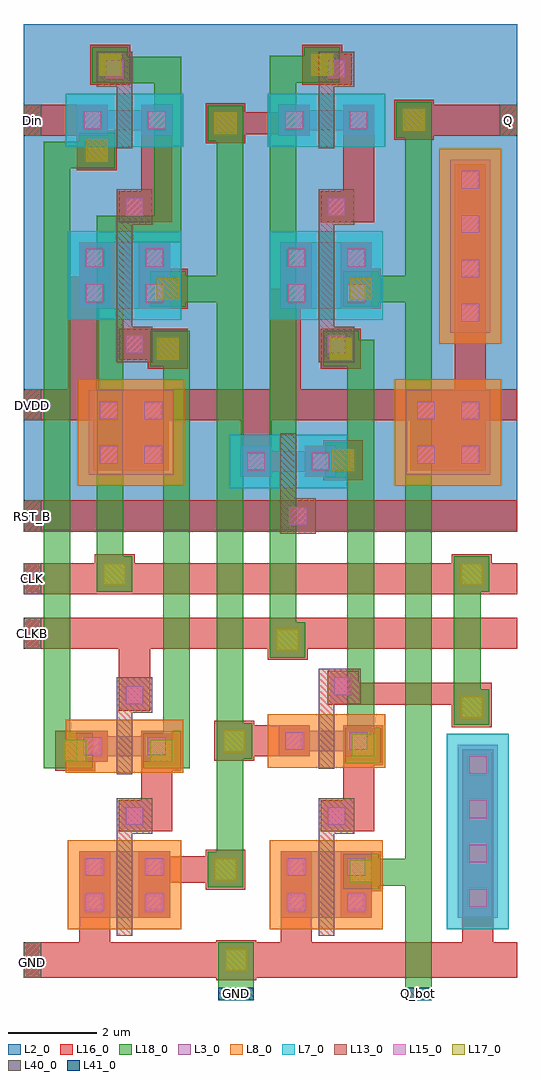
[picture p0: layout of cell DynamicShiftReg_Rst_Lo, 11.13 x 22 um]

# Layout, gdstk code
import gdstk
lib = gdstk.Library(unit=1e-6, precision=1e-09)
def R(c, l, rs):  # rectangles x0, y0, x1, y1
    for r in rs: c.add(gdstk.rectangle(r[:2], r[2:], *l))
def A(c, l, x, y, w, h, nx, ny, dx, dy):  # array of equal rectangles
    R(c, l, [(x+i*dx, y+j*dy, x+i*dx+w, y+j*dy+h) for i in range(nx) for j in range(ny)])
L2_0 = (2, 0)
L3_0 = (3, 0)
L7_0 = (7, 0)
L8_0 = (8, 0)
L13_0 = (13, 0)
L15_0 = (15, 0)
L16_0 = (16, 0)
L17_0 = (17, 0)
L18_0 = (18, 0)
L40_0 = (40, 0)
L41_0 = (41, 0)

pch_cdns_760839022940 = lib.new_cell('pch_CDNS_760839022940')
R(pch_cdns_760839022940, L2_0, [(-2.05,-1.2,2.4,2.7)])
R(pch_cdns_760839022940, L3_0, [(-0.85,0,-0.15,1.5), (-0.85,0,-0.15,1.5), (-0.15,0,0.5,1.5), (0.5,0,1.2,1.5), (0.5,0,1.2,1.5)])
R(pch_cdns_760839022940, L7_0, [(-1.1,-0.25,1.45,1.75)])
R(pch_cdns_760839022940, L13_0, [(0,-0.4,0.35,1.9)])
R(pch_cdns_760839022940, L15_0, [(-0.7,0.15,-0.3,0.55), (0.65,0.15,1.05,0.55), (-0.7,0.95,-0.3,1.35), (0.65,0.95,1.05,1.35)])
R(pch_cdns_760839022940, L16_0, [(-0.85,0,-0.15,1.5), (0.5,0,1.2,1.5)])
pch_cdns_760839022940.add(gdstk.Label('D', (0.85,0.75), layer=59, texttype=0))
pch_cdns_760839022940.add(gdstk.Label('S', (-0.5,0.75), layer=59, texttype=0))
pch_cdns_760839022940.add(gdstk.Label('G', (0.175,0.75), layer=59, texttype=0))
pch_cdns_760839022940.add(gdstk.Label('& SerialNumber 000000', (0,0), layer=16, texttype=0))
pch_cdns_760839022940.add(gdstk.Label('& Distributor VIS', (0,0), layer=16, texttype=0))
pch_cdns_760839022940.add(gdstk.Label('& Metric 1', (0,0), layer=16, texttype=0))
pch_cdns_760839022940.add(gdstk.Label('& Version    \t  1.7A', (0,0), layer=16, texttype=0))
pch_cdns_760839022940.add(gdstk.Label('& PDKName     vis35cv', (0,0), layer=16, texttype=0))
pch_cdns_760839022940.add(gdstk.Label('& Vendor VIS Corp.', (0,0), layer=16, texttype=0))
pch_cdns_760839022940.add(gdstk.Label('& SerialNumber 000000', (0,0), layer=63, texttype=63))
pch_cdns_760839022940.add(gdstk.Label('& Distributor VIS', (0,0), layer=63, texttype=63))
pch_cdns_760839022940.add(gdstk.Label('& Metric 1', (0,0), layer=63, texttype=63))
pch_cdns_760839022940.add(gdstk.Label('& Version    \t  1.7A', (0,0), layer=63, texttype=63))
pch_cdns_760839022940.add(gdstk.Label('& PDKName     vis35cv', (0,0), layer=63, texttype=63))
pch_cdns_760839022940.add(gdstk.Label('& Vendor VIS Corp.', (0,0), layer=63, texttype=63))

pch_cdns_760839022941 = lib.new_cell('pch_CDNS_760839022941')
R(pch_cdns_760839022941, L2_0, [(-2.1,-1.32,2.45,1.78)])
R(pch_cdns_760839022941, L3_0, [(-0.9,-0.12,-0.2,0.58), (0.55,-0.12,1.25,0.58), (-0.9,0,-0.2,0.46), (-0.2,0,0.55,0.46), (0.55,0,1.25,0.46)])
R(pch_cdns_760839022941, L7_0, [(-1.15,-0.37,1.5,0.83)])
R(pch_cdns_760839022941, L13_0, [(0,-0.4,0.35,0.86)])
R(pch_cdns_760839022941, L15_0, [(-0.75,0.03,-0.35,0.43), (0.7,0.03,1.1,0.43)])
R(pch_cdns_760839022941, L16_0, [(-0.9,-0.12,-0.2,0.58), (0.55,-0.12,1.25,0.58)])
pch_cdns_760839022941.add(gdstk.Label('D', (0.9,0.23), layer=59, texttype=0))
pch_cdns_760839022941.add(gdstk.Label('S', (-0.55,0.23), layer=59, texttype=0))
pch_cdns_760839022941.add(gdstk.Label('G', (0.175,0.23), layer=59, texttype=0))
pch_cdns_760839022941.add(gdstk.Label('& SerialNumber 000000', (0,0), layer=16, texttype=0))
pch_cdns_760839022941.add(gdstk.Label('& Distributor VIS', (0,0), layer=16, texttype=0))
pch_cdns_760839022941.add(gdstk.Label('& Metric 1', (0,0), layer=16, texttype=0))
pch_cdns_760839022941.add(gdstk.Label('& Version    \t  1.7A', (0,0), layer=16, texttype=0))
pch_cdns_760839022941.add(gdstk.Label('& PDKName     vis35cv', (0,0), layer=16, texttype=0))
pch_cdns_760839022941.add(gdstk.Label('& Vendor VIS Corp.', (0,0), layer=16, texttype=0))
pch_cdns_760839022941.add(gdstk.Label('& SerialNumber 000000', (0,0), layer=63, texttype=63))
pch_cdns_760839022941.add(gdstk.Label('& Distributor VIS', (0,0), layer=63, texttype=63))
pch_cdns_760839022941.add(gdstk.Label('& Metric 1', (0,0), layer=63, texttype=63))
pch_cdns_760839022941.add(gdstk.Label('& Version    \t  1.7A', (0,0), layer=63, texttype=63))
pch_cdns_760839022941.add(gdstk.Label('& PDKName     vis35cv', (0,0), layer=63, texttype=63))
pch_cdns_760839022941.add(gdstk.Label('& Vendor VIS Corp.', (0,0), layer=63, texttype=63))

nch_cdns_760839022942 = lib.new_cell('nch_CDNS_760839022942')
R(nch_cdns_760839022942, L3_0, [(-0.9,-0.12,-0.2,0.58), (0.55,-0.12,1.25,0.58), (-0.9,0,-0.2,0.46), (-0.2,0,0.55,0.46), (0.55,0,1.25,0.46)])
R(nch_cdns_760839022942, L8_0, [(-1.15,-0.37,1.5,0.83)])
R(nch_cdns_760839022942, L13_0, [(0,-0.4,0.35,0.86)])
R(nch_cdns_760839022942, L15_0, [(-0.75,0.03,-0.35,0.43), (0.7,0.03,1.1,0.43)])
R(nch_cdns_760839022942, L16_0, [(-0.9,-0.12,-0.2,0.58), (0.55,-0.12,1.25,0.58)])
nch_cdns_760839022942.add(gdstk.Label('D', (0.9,0.23), layer=59, texttype=0))
nch_cdns_760839022942.add(gdstk.Label('S', (-0.55,0.23), layer=59, texttype=0))
nch_cdns_760839022942.add(gdstk.Label('G', (0.175,0.23), layer=59, texttype=0))
nch_cdns_760839022942.add(gdstk.Label('& SerialNumber 000000', (0,0), layer=16, texttype=0))
nch_cdns_760839022942.add(gdstk.Label('& Distributor VIS', (0,0), layer=16, texttype=0))
nch_cdns_760839022942.add(gdstk.Label('& Metric 1', (0,0), layer=16, texttype=0))
nch_cdns_760839022942.add(gdstk.Label('& Version    \t  1.7A', (0,0), layer=16, texttype=0))
nch_cdns_760839022942.add(gdstk.Label('& PDKName     vis35cv', (0,0), layer=16, texttype=0))
nch_cdns_760839022942.add(gdstk.Label('& Vendor VIS Corp.', (0,0), layer=16, texttype=0))
nch_cdns_760839022942.add(gdstk.Label('& SerialNumber 000000', (0,0), layer=63, texttype=63))
nch_cdns_760839022942.add(gdstk.Label('& Distributor VIS', (0,0), layer=63, texttype=63))
nch_cdns_760839022942.add(gdstk.Label('& Metric 1', (0,0), layer=63, texttype=63))
nch_cdns_760839022942.add(gdstk.Label('& Version    \t  1.7A', (0,0), layer=63, texttype=63))
nch_cdns_760839022942.add(gdstk.Label('& PDKName     vis35cv', (0,0), layer=63, texttype=63))
nch_cdns_760839022942.add(gdstk.Label('& Vendor VIS Corp.', (0,0), layer=63, texttype=63))

nch_cdns_760839022943 = lib.new_cell('nch_CDNS_760839022943')
R(nch_cdns_760839022943, L3_0, [(-0.85,0,-0.15,1.5), (-0.85,0,-0.15,1.5), (-0.15,0,0.5,1.5), (0.5,0,1.2,1.5), (0.5,0,1.2,1.5)])
R(nch_cdns_760839022943, L8_0, [(-1.1,-0.25,1.45,1.75)])
R(nch_cdns_760839022943, L13_0, [(0,-0.4,0.35,1.9)])
R(nch_cdns_760839022943, L15_0, [(-0.7,0.15,-0.3,0.55), (0.65,0.15,1.05,0.55), (-0.7,0.95,-0.3,1.35), (0.65,0.95,1.05,1.35)])
R(nch_cdns_760839022943, L16_0, [(-0.85,0,-0.15,1.5), (0.5,0,1.2,1.5)])
nch_cdns_760839022943.add(gdstk.Label('D', (0.85,0.75), layer=59, texttype=0))
nch_cdns_760839022943.add(gdstk.Label('S', (-0.5,0.75), layer=59, texttype=0))
nch_cdns_760839022943.add(gdstk.Label('G', (0.175,0.75), layer=59, texttype=0))
nch_cdns_760839022943.add(gdstk.Label('& SerialNumber 000000', (0,0), layer=16, texttype=0))
nch_cdns_760839022943.add(gdstk.Label('& Distributor VIS', (0,0), layer=16, texttype=0))
nch_cdns_760839022943.add(gdstk.Label('& Metric 1', (0,0), layer=16, texttype=0))
nch_cdns_760839022943.add(gdstk.Label('& Version    \t  1.7A', (0,0), layer=16, texttype=0))
nch_cdns_760839022943.add(gdstk.Label('& PDKName     vis35cv', (0,0), layer=16, texttype=0))
nch_cdns_760839022943.add(gdstk.Label('& Vendor VIS Corp.', (0,0), layer=16, texttype=0))
nch_cdns_760839022943.add(gdstk.Label('& SerialNumber 000000', (0,0), layer=63, texttype=63))
nch_cdns_760839022943.add(gdstk.Label('& Distributor VIS', (0,0), layer=63, texttype=63))
nch_cdns_760839022943.add(gdstk.Label('& Metric 1', (0,0), layer=63, texttype=63))
nch_cdns_760839022943.add(gdstk.Label('& Version    \t  1.7A', (0,0), layer=63, texttype=63))
nch_cdns_760839022943.add(gdstk.Label('& PDKName     vis35cv', (0,0), layer=63, texttype=63))
nch_cdns_760839022943.add(gdstk.Label('& Vendor VIS Corp.', (0,0), layer=63, texttype=63))

m1_nactive_cdns_76083902 = lib.new_cell('M1_NACTIVE_CDNS_760839022940')
R(m1_nactive_cdns_76083902, L3_0, [(-0.45,-1.95,0.45,1.95)])
R(m1_nactive_cdns_76083902, L8_0, [(-0.7,-2.2,0.7,2.2)])
A(m1_nactive_cdns_76083902, L15_0, -0.2, -1.7, 0.4, 0.4, 1, 4, 0, 1)
R(m1_nactive_cdns_76083902, L16_0, [(-0.35,-1.85,0.35,1.85)])

m2_m1_cdns_760839022941 = lib.new_cell('M2_M1_CDNS_760839022941')
R(m2_m1_cdns_760839022941, L16_0, [(-0.45,-0.45,0.45,0.45)])
R(m2_m1_cdns_760839022941, L17_0, [(-0.25,-0.25,0.25,0.25)])
R(m2_m1_cdns_760839022941, L18_0, [(-0.4,-0.4,0.4,0.4)])

m1_poly1_cdns_7608390229 = lib.new_cell('M1_POLY1_CDNS_760839022942')
R(m1_poly1_cdns_7608390229, L13_0, [(-0.4,-0.4,0.4,0.4)])
R(m1_poly1_cdns_7608390229, L15_0, [(-0.2,-0.2,0.2,0.2)])
R(m1_poly1_cdns_7608390229, L16_0, [(-0.35,-0.35,0.35,0.35)])

m1_pactive_cdns_76083902 = lib.new_cell('M1_PACTIVE_CDNS_760839022943')
R(m1_pactive_cdns_76083902, L3_0, [(-0.45,-1.95,0.45,1.95)])
R(m1_pactive_cdns_76083902, L7_0, [(-0.7,-2.2,0.7,2.2)])
A(m1_pactive_cdns_76083902, L15_0, -0.2, -1.7, 0.4, 0.4, 1, 4, 0, 1)
R(m1_pactive_cdns_76083902, L16_0, [(-0.35,-1.85,0.35,1.85)])

c_m1_nactive_cdns_76083902 = lib.new_cell('M1_NACTIVE_CDNS_760839022944')
R(c_m1_nactive_cdns_76083902, L3_0, [(-0.95,-0.95,0.95,0.95)])
R(c_m1_nactive_cdns_76083902, L8_0, [(-1.2,-1.2,1.2,1.2)])
R(c_m1_nactive_cdns_76083902, L15_0, [(-0.7,-0.7,-0.3,-0.3), (0.3,-0.7,0.7,-0.3), (-0.7,0.3,-0.3,0.7), (0.3,0.3,0.7,0.7)])
R(c_m1_nactive_cdns_76083902, L16_0, [(-0.85,-0.85,0.85,0.85)])

dynamicshiftreg_rst_lo = lib.new_cell('DynamicShiftReg_Rst_Lo')
R(dynamicshiftreg_rst_lo, L2_0, [(0,10.59,3.69,14.09), (8.24,10.59,11.13,14.09), (3.69,13.69,8.24,14.09), (0,14.09,11.13,22)])
R(dynamicshiftreg_rst_lo, L13_0, [(6.65,6.47,7,7.47), (5.79,11.31,6.14,11.51)])
R(dynamicshiftreg_rst_lo, L16_0, [(2.15,7.22,2.85,7.92), (4.89,12.49,5.59,13.07)])
R(dynamicshiftreg_rst_lo, L40_0, [(0,0.5,0.4,1.3), (0,7.92,0.4,8.62), (0,9.15,0.4,9.85), (0,10.56,0.4,11.26), (0,13.07,0.4,13.77), (0,19.48,0.4,20.18), (10.73,19.48,11.13,20.18)])
R(dynamicshiftreg_rst_lo, L41_0, [(4.39,0,5.19,0.28), (8.6,0,9.2,0.28)])
dynamicshiftreg_rst_lo.add(gdstk.FlexPath([(4.79,0),(4.79,0.5)], 0.8, ends="flush", simple_path=True, layer=18, datatype=0))  # L18_0
dynamicshiftreg_rst_lo.add(gdstk.FlexPath([(1.65,19.05),(0.75,19.05)], 0.6, ends="extended", simple_path=True, layer=18, datatype=0))  # L18_0
dynamicshiftreg_rst_lo.add(gdstk.FlexPath([(1.65,19.03),(1.65,19.05)], 0.6, ends=(0, 0.3), simple_path=True, layer=18, datatype=0))  # L18_0
dynamicshiftreg_rst_lo.add(gdstk.FlexPath([(1.95,20.96),(3.25,20.96)], 0.6, ends=(0, 0.3), simple_path=True, layer=18, datatype=0))  # L18_0
dynamicshiftreg_rst_lo.add(gdstk.FlexPath([(6.73,20.98),(6.73,20.96)], 0.6, ends=(0.3, 0), simple_path=True, layer=18, datatype=0))  # L18_0
dynamicshiftreg_rst_lo.add(gdstk.FlexPath([(5.85,20.98),(6.73,20.98)], 0.6, ends="extended", simple_path=True, layer=18, datatype=0))  # L18_0
dynamicshiftreg_rst_lo.add(gdstk.FlexPath([(5.85,8.41),(5.85,20.98)], 0.6, ends=(0, 0.3), simple_path=True, layer=18, datatype=0))  # L18_0
dynamicshiftreg_rst_lo.add(gdstk.FlexPath([(1.95,17.38),(1.95,9.49)], 0.6, ends=(0.3, 0), simple_path=True, layer=18, datatype=0))  # L18_0
dynamicshiftreg_rst_lo.add(gdstk.FlexPath([(10,6.97),(10,9.49)], 0.6, ends="flush", simple_path=True, layer=18, datatype=0))  # L18_0
dynamicshiftreg_rst_lo.add(gdstk.FlexPath([(7.6,2.94),(7.6,2.88)], 0.6, ends=(0, 0.3), simple_path=True, layer=18, datatype=0))  # L18_0
dynamicshiftreg_rst_lo.add(gdstk.FlexPath([(7.6,2.88),(8.9,2.88)], 0.6, ends="extended", simple_path=True, layer=18, datatype=0))  # L18_0
dynamicshiftreg_rst_lo.add(gdstk.FlexPath([(7.15,14.58),(7.6,14.58)], 0.6, ends=(0.4, 0.3), simple_path=True, layer=18, datatype=0))  # L18_0
dynamicshiftreg_rst_lo.add(gdstk.FlexPath([(7.6,14.58),(7.6,5.35)], 0.6, ends=(0.3, 0), simple_path=True, layer=18, datatype=0))  # L18_0
dynamicshiftreg_rst_lo.add(gdstk.FlexPath([(3.45,14.68),(3.45,5.22)], 0.6, ends=(0.4, 0), simple_path=True, layer=18, datatype=0))  # L18_0
dynamicshiftreg_rst_lo.add(gdstk.FlexPath([(4.65,19.76),(4.65,2.94)], 0.6, ends="flush", simple_path=True, layer=18, datatype=0))  # L18_0
dynamicshiftreg_rst_lo.add(gdstk.FlexPath([(8.9,2.88),(8.9,19.84)], 0.6, ends=(0.3, 0), simple_path=True, layer=18, datatype=0))  # L18_0
dynamicshiftreg_rst_lo.add(gdstk.FlexPath([(7.6,16.03),(8.7,16.03)], 0.6, ends=(0, 0.3), simple_path=True, layer=18, datatype=0))  # L18_0
dynamicshiftreg_rst_lo.add(gdstk.FlexPath([(3.25,17.38),(1.95,17.38)], 0.6, ends="extended", simple_path=True, layer=18, datatype=0))  # L18_0
dynamicshiftreg_rst_lo.add(gdstk.FlexPath([(3.05,16.03),(4.55,16.03)], 0.6, ends=(0, 0.3), simple_path=True, layer=18, datatype=0))  # L18_0
dynamicshiftreg_rst_lo.add(gdstk.FlexPath([(8.9,2.88),(8.9,0)], 0.6, ends=(0.3, 0), simple_path=True, layer=18, datatype=0))  # L18_0
dynamicshiftreg_rst_lo.add(gdstk.FlexPath([(3.25,20.96),(3.25,17.38)], 0.6, ends="extended", simple_path=True, layer=18, datatype=0))  # L18_0
dynamicshiftreg_rst_lo.add(gdstk.FlexPath([(0.75,19.05),(0.75,5.22)], 0.6, ends=(0.3, 0), simple_path=True, layer=18, datatype=0))  # L18_0
dynamicshiftreg_rst_lo.add(gdstk.FlexPath([(6.825,20.46),(6.825,20.58)], 0.35, ends="flush", simple_path=True, layer=13, datatype=0))  # L13_0
dynamicshiftreg_rst_lo.add(gdstk.FlexPath([(2.275,6.35),(2.275,6.47)], 0.35, ends="flush", simple_path=True, layer=13, datatype=0))  # L13_0
dynamicshiftreg_rst_lo.add(gdstk.FlexPath([(2.275,20.46),(2.275,20.58)], 0.35, ends="flush", simple_path=True, layer=13, datatype=0))  # L13_0
dynamicshiftreg_rst_lo.add(gdstk.FlexPath([(11.13,9.5),(0,9.5)], 0.7, ends="flush", simple_path=True, layer=16, datatype=0))  # L16_0
dynamicshiftreg_rst_lo.add(gdstk.FlexPath([(10.73,0.9),(0,0.9)], 0.8, ends=(0.4, 0), simple_path=True, layer=16, datatype=0))  # L16_0
dynamicshiftreg_rst_lo.add(gdstk.FlexPath([(11.13,8.27),(0,8.27)], 0.7, ends="flush", simple_path=True, layer=16, datatype=0))  # L16_0
dynamicshiftreg_rst_lo.add(gdstk.FlexPath([(11.13,10.91),(0,10.91)], 0.7, ends="flush", simple_path=True, layer=16, datatype=0))  # L16_0
dynamicshiftreg_rst_lo.add(gdstk.FlexPath([(0,13.42),(1.35,13.42)], 0.7, ends=(0, 0.35), simple_path=True, layer=16, datatype=0))  # L16_0
dynamicshiftreg_rst_lo.add(gdstk.FlexPath([(6.15,1.85),(6.15,1.05)], 0.7, ends=(0, 0.4), simple_path=True, layer=16, datatype=0))  # L16_0
dynamicshiftreg_rst_lo.add(gdstk.FlexPath([(10.24,3.6),(10.24,1.05)], 0.7, ends=(0, 0.4), simple_path=True, layer=16, datatype=0))  # L16_0
dynamicshiftreg_rst_lo.add(gdstk.FlexPath([(10.07,16.03),(10.07,13.42)], 0.7, ends=(0, 0.35), simple_path=True, layer=16, datatype=0))  # L16_0
dynamicshiftreg_rst_lo.add(gdstk.FlexPath([(1.6,1.98),(1.6,1.05)], 0.7, ends=(0, 0.4), simple_path=True, layer=16, datatype=0))  # L16_0
dynamicshiftreg_rst_lo.add(gdstk.FlexPath([(6.85,6.9),(10.55,6.9)], 0.5, ends="flush", simple_path=True, layer=16, datatype=0))  # L16_0
dynamicshiftreg_rst_lo.add(gdstk.FlexPath([(5.9,16.03),(5.9,13.42)], 0.7, ends=(0, 0.35), simple_path=True, layer=16, datatype=0))  # L16_0
dynamicshiftreg_rst_lo.add(gdstk.FlexPath([(1.35,16.3),(1.35,13.42)], 0.7, ends=(0, 0.35), simple_path=True, layer=16, datatype=0))  # L16_0
dynamicshiftreg_rst_lo.add(gdstk.FlexPath([(5.75,5.84),(4.55,5.84)], 0.7, ends="flush", simple_path=True, layer=16, datatype=0))  # L16_0
dynamicshiftreg_rst_lo.add(gdstk.FlexPath([(4.55,2.94),(3.3,2.94)], 0.6, ends="flush", simple_path=True, layer=16, datatype=0))  # L16_0
dynamicshiftreg_rst_lo.add(gdstk.FlexPath([(7.55,5.49),(7.55,3.8)], 0.7, ends="flush", simple_path=True, layer=16, datatype=0))  # L16_0
dynamicshiftreg_rst_lo.add(gdstk.FlexPath([(3,5.49),(3,3.8)], 0.7, ends="flush", simple_path=True, layer=16, datatype=0))  # L16_0
dynamicshiftreg_rst_lo.add(gdstk.FlexPath([(11.13,19.83),(9.02,19.83)], 0.7, ends="flush", simple_path=True, layer=16, datatype=0))  # L16_0
dynamicshiftreg_rst_lo.add(gdstk.FlexPath([(1.2,19.83),(0,19.83)], 0.7, ends="flush", simple_path=True, layer=16, datatype=0))  # L16_0
dynamicshiftreg_rst_lo.add(gdstk.FlexPath([(4.55,19.76),(5.75,19.76)], 0.5, ends="flush", simple_path=True, layer=16, datatype=0))  # L16_0
dynamicshiftreg_rst_lo.add(gdstk.FlexPath([(3,19.63),(3,17.53)], 0.7, ends="flush", simple_path=True, layer=16, datatype=0))  # L16_0
dynamicshiftreg_rst_lo.add(gdstk.FlexPath([(7.55,19.63),(7.55,17.53)], 0.7, ends="flush", simple_path=True, layer=16, datatype=0))  # L16_0
dynamicshiftreg_rst_lo.add(gdstk.FlexPath([(10.07,13.42),(10.78,13.42)], 0.7, ends="extended", simple_path=True, layer=16, datatype=0))  # L16_0
dynamicshiftreg_rst_lo.add(gdstk.FlexPath([(5.9,13.42),(10.07,13.42)], 0.7, ends="extended", simple_path=True, layer=16, datatype=0))  # L16_0
dynamicshiftreg_rst_lo.add(gdstk.FlexPath([(1.35,13.42),(5.9,13.42)], 0.7, ends="extended", simple_path=True, layer=16, datatype=0))  # L16_0
dynamicshiftreg_rst_lo.add(gdstk.Reference(pch_cdns_760839022940, (6.65,15.58)))
dynamicshiftreg_rst_lo.add(gdstk.Reference(pch_cdns_760839022940, (2.1,15.58)))
dynamicshiftreg_rst_lo.add(gdstk.Reference(pch_cdns_760839022941, (5.79,12.37), x_reflection=True))
dynamicshiftreg_rst_lo.add(gdstk.Reference(pch_cdns_760839022941, (6.65,19.6)))
dynamicshiftreg_rst_lo.add(gdstk.Reference(pch_cdns_760839022941, (2.1,19.6)))
dynamicshiftreg_rst_lo.add(gdstk.Reference(nch_cdns_760839022942, (6.65,5.61)))
dynamicshiftreg_rst_lo.add(gdstk.Reference(nch_cdns_760839022942, (2.1,5.49)))
dynamicshiftreg_rst_lo.add(gdstk.Reference(nch_cdns_760839022943, (6.65,1.85)))
dynamicshiftreg_rst_lo.add(gdstk.Reference(nch_cdns_760839022943, (2.1,1.85)))
dynamicshiftreg_rst_lo.add(gdstk.Reference(m1_nactive_cdns_76083902, (10.07,16.99)))
dynamicshiftreg_rst_lo.add(gdstk.Reference(m2_m1_cdns_760839022941, (4.79,0.9)))
dynamicshiftreg_rst_lo.add(gdstk.Reference(m2_m1_cdns_760839022941, (1.65,19.15)))
dynamicshiftreg_rst_lo.add(gdstk.Reference(m2_m1_cdns_760839022941, (1.16,5.62)))
dynamicshiftreg_rst_lo.add(gdstk.Reference(m2_m1_cdns_760839022941, (5.95,8.12)))
dynamicshiftreg_rst_lo.add(gdstk.Reference(m2_m1_cdns_760839022941, (6.73,21.08)))
dynamicshiftreg_rst_lo.add(gdstk.Reference(m2_m1_cdns_760839022941, (2.05,9.6)))
dynamicshiftreg_rst_lo.add(gdstk.Reference(m2_m1_cdns_760839022941, (1.95,21.08)))
dynamicshiftreg_rst_lo.add(gdstk.Reference(m2_m1_cdns_760839022941, (10.1,9.6)))
dynamicshiftreg_rst_lo.add(gdstk.Reference(m2_m1_cdns_760839022941, (7.2,12.17), x_reflection=True))
dynamicshiftreg_rst_lo.add(gdstk.Reference(m2_m1_cdns_760839022941, (10.1,6.6)))
dynamicshiftreg_rst_lo.add(gdstk.Reference(m2_m1_cdns_760839022941, (7.6,2.9)))
dynamicshiftreg_rst_lo.add(gdstk.Reference(m2_m1_cdns_760839022941, (7.65,5.74)))
dynamicshiftreg_rst_lo.add(gdstk.Reference(m2_m1_cdns_760839022941, (3.1,5.62)))
dynamicshiftreg_rst_lo.add(gdstk.Reference(m2_m1_cdns_760839022941, (3.25,14.68)))
dynamicshiftreg_rst_lo.add(gdstk.Reference(m2_m1_cdns_760839022941, (7.15,14.68)))
dynamicshiftreg_rst_lo.add(gdstk.Reference(m2_m1_cdns_760839022941, (4.75,5.84)))
dynamicshiftreg_rst_lo.add(gdstk.Reference(m2_m1_cdns_760839022941, (4.55,2.94)))
dynamicshiftreg_rst_lo.add(gdstk.Reference(m2_m1_cdns_760839022941, (8.8,19.84)))
dynamicshiftreg_rst_lo.add(gdstk.Reference(m2_m1_cdns_760839022941, (7.6,16.03)))
dynamicshiftreg_rst_lo.add(gdstk.Reference(m2_m1_cdns_760839022941, (4.55,19.76)))
dynamicshiftreg_rst_lo.add(gdstk.Reference(m2_m1_cdns_760839022941, (3.25,16.03)))
dynamicshiftreg_rst_lo.add(gdstk.Reference(m1_poly1_cdns_7608390229, (6.19,10.91), x_reflection=True))
dynamicshiftreg_rst_lo.add(gdstk.Reference(m1_poly1_cdns_7608390229, (2.5,14.78)))
dynamicshiftreg_rst_lo.add(gdstk.Reference(m1_poly1_cdns_7608390229, (7.05,14.78)))
dynamicshiftreg_rst_lo.add(gdstk.Reference(m1_poly1_cdns_7608390229, (7.2,7.07)))
dynamicshiftreg_rst_lo.add(gdstk.Reference(m1_poly1_cdns_7608390229, (2.5,6.87)))
dynamicshiftreg_rst_lo.add(gdstk.Reference(m1_poly1_cdns_7608390229, (7.05,20.98)))
dynamicshiftreg_rst_lo.add(gdstk.Reference(m1_poly1_cdns_7608390229, (2.05,20.98)))
dynamicshiftreg_rst_lo.add(gdstk.Reference(m1_poly1_cdns_7608390229, (7.05,4.15)))
dynamicshiftreg_rst_lo.add(gdstk.Reference(m1_poly1_cdns_7608390229, (2.5,4.15)))
dynamicshiftreg_rst_lo.add(gdstk.Reference(m1_poly1_cdns_7608390229, (2.5,17.88)))
dynamicshiftreg_rst_lo.add(gdstk.Reference(m1_poly1_cdns_7608390229, (7.05,17.88)))
dynamicshiftreg_rst_lo.add(gdstk.Reference(m1_pactive_cdns_76083902, (10.24,3.8)))
dynamicshiftreg_rst_lo.add(gdstk.Reference(c_m1_nactive_cdns_76083902, (2.42,12.79)))
dynamicshiftreg_rst_lo.add(gdstk.Reference(c_m1_nactive_cdns_76083902, (9.57,12.79)))
dynamicshiftreg_rst_lo.add(gdstk.Label('Q_bot', (8.91,0.14), layer=41, texttype=0))
dynamicshiftreg_rst_lo.add(gdstk.Label('GND', (4.79,0.14), layer=41, texttype=0))
dynamicshiftreg_rst_lo.add(gdstk.Label('Din', (0.21,19.82), layer=40, texttype=0))
dynamicshiftreg_rst_lo.add(gdstk.Label('RST_B', (0.21,10.9), layer=40, texttype=0))
dynamicshiftreg_rst_lo.add(gdstk.Label('Q', (10.94,19.82), layer=40, texttype=0))
dynamicshiftreg_rst_lo.add(gdstk.Label('DVDD', (0.21,13.41), layer=40, texttype=0))
dynamicshiftreg_rst_lo.add(gdstk.Label('CLK', (0.21,9.49), layer=40, texttype=0))
dynamicshiftreg_rst_lo.add(gdstk.Label('CLKB', (0.21,8.26), layer=40, texttype=0))
dynamicshiftreg_rst_lo.add(gdstk.Label('GND', (0.21,0.85), layer=40, texttype=0))

lib.write_gds('DynamicShiftReg_Rst_Lo.gds')
